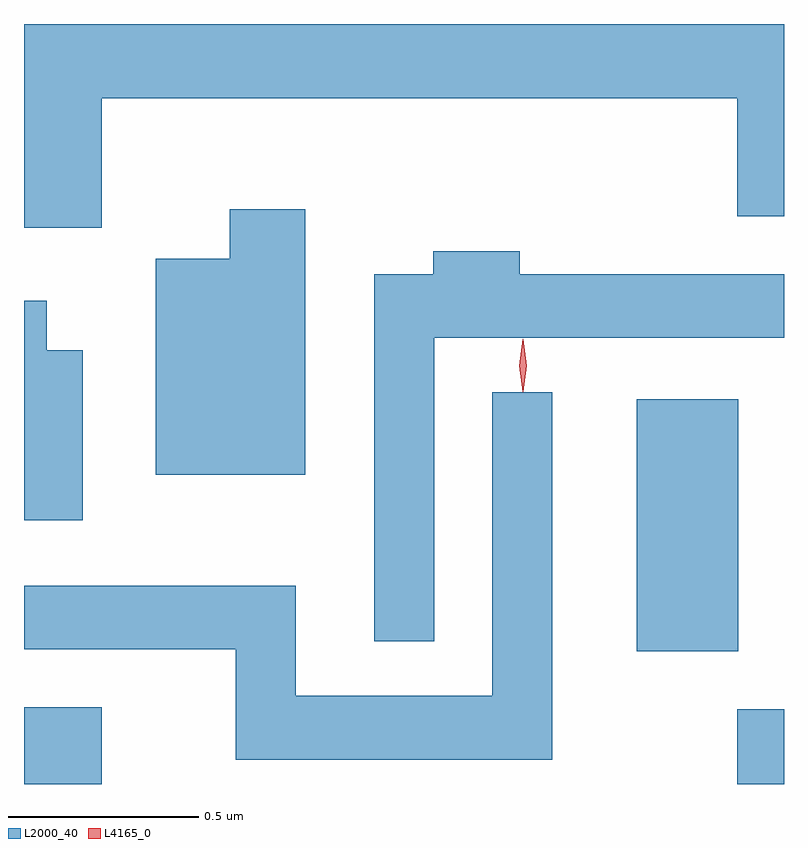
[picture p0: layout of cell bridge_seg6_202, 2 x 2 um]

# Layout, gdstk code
import gdstk
lib = gdstk.Library(unit=1e-6, precision=1e-09)
def R(c, l, rs):  # rectangles x0, y0, x1, y1
    for r in rs: c.add(gdstk.rectangle(r[:2], r[2:], *l))
def P(c, l, *ps):  # polygons
    for p in ps: c.add(gdstk.Polygon(p, *l))
L2000_40 = (2000, 40)
L4165_0 = (4165, 0)

bridge_seg6_202 = lib.new_cell('bridge_seg6_202')
R(bridge_seg6_202, L2000_40, [(1045.774,1568.212,1045.979,1568.414), (1047.651,1568.212,1047.774,1568.409), (1047.386,1568.561,1047.654,1569.224)])
P(bridge_seg6_202, L2000_40, [(1045.979,1570.016),(1047.651,1570.016),(1047.651,1569.706),(1047.774,1569.706),(1047.774,1570.212),(1045.774,1570.212),(1045.774,1569.676),(1045.979,1569.676)],
  [(1046.514,1569.724),(1046.316,1569.724),(1046.316,1569.594),(1046.121,1569.594),(1046.121,1569.026),(1046.514,1569.026)],
  [(1046.854,1569.386),(1047.774,1569.386),(1047.774,1569.554),(1047.079,1569.554),(1047.079,1569.614),(1046.851,1569.614),(1046.851,1569.554),(1046.696,1569.554),(1046.696,1568.588),(1046.854,1568.588)],
  [(1045.929,1569.354),(1045.834,1569.354),(1045.834,1569.484),(1045.774,1569.484),(1045.774,1568.906),(1045.929,1568.906)],
  [(1047.164,1569.243),(1047.006,1569.243),(1047.006,1568.444),(1046.489,1568.444),(1046.489,1568.734),(1045.774,1568.734),(1045.774,1568.566),(1046.331,1568.566),(1046.331,1568.276),(1047.164,1568.276)])
P(bridge_seg6_202, L4165_0, [(1047.087,1569.243),(1047.087,1569.244),(1047.077,1569.313),(1047.087,1569.382),(1047.087,1569.383),(1047.088,1569.382),(1047.097,1569.313),(1047.088,1569.244)])

lib.write_gds('bridge_seg6_202.gds')
